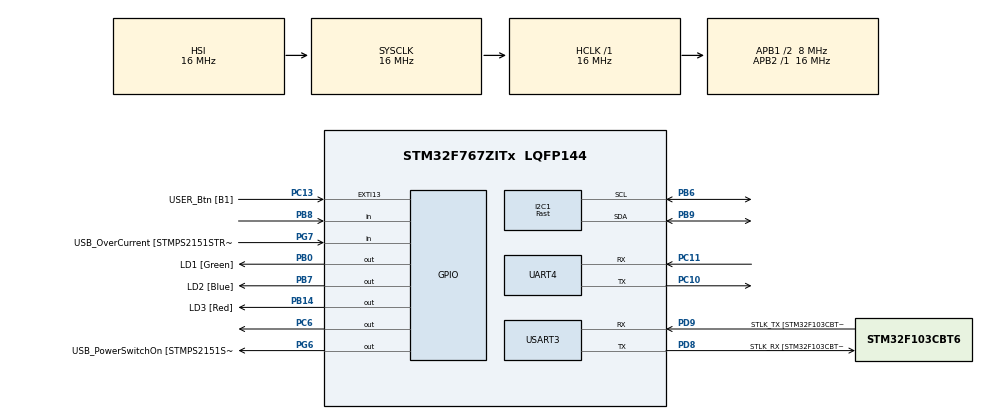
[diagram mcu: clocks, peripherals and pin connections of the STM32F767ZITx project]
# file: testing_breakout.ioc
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I2C1.I2C_Fall_Time=300
I2C1.I2C_Rise_Time=300
I2C1.I2C_Speed_Mode=I2C_Fast
I2C1.OwnAddress=0x68
I2C1.Timing=0x00300208
Mcu.Family=STM32F7
Mcu.Name=STM32F767ZITx
Mcu.Package=LQFP144
NVIC.PriorityGroup=NVIC_PRIORITYGROUP_4
NVIC.TIM3_IRQn=true\:0\:0\:true\:false\:true\:true\:true\:true
NVIC.TIM4_IRQn=true\:1\:0\:true\:false\:true\:true\:true\:true
PA1.GPIO_Label=RMII_REF_CLK [LAN8742A-CZ-TR_REFCLK0]
PA1.Signal=ETH_REF_CLK
PA10.GPIO_Label=USB_ID
PA10.Signal=USB_OTG_FS_ID
PA11.GPIO_Label=USB_DM
PA11.Signal=USB_OTG_FS_DM
PA12.GPIO_Label=USB_DP
PA12.Signal=USB_OTG_FS_DP
PA13.GPIO_Label=TMS
PA13.Signal=SYS_JTMS-SWDIO
PA14.GPIO_Label=TCK
PA14.Signal=SYS_JTCK-SWCLK
PA2.GPIO_Label=RMII_MDIO [LAN8742A-CZ-TR_MDIO]
PA2.Signal=ETH_MDIO
PA7.GPIO_Label=RMII_CRS_DV [LAN8742A-CZ-TR_CRS_DV]
PA7.Signal=ETH_CRS_DV
PA8.GPIO_Label=USB_SOF [TP1]
PA8.Signal=USB_OTG_FS_SOF
PA9.GPIO_Label=USB_VBUS
PA9.Signal=USB_OTG_FS_VBUS
PB0.GPIO_Label=LD1 [Green]
PB0.Signal=GPIO_Output
PB13.GPIO_Label=RMII_TXD1 [LAN8742A-CZ-TR_TXD1]
PB13.Signal=ETH_TXD1
PB14.GPIO_Label=LD3 [Red]
PB14.Signal=GPIO_Output
PB3.GPIO_Label=SW0
PB3.Signal=SYS_JTDO-SWO
PB6.GPIO_Pu=GPIO_PULLUP
PB6.Mode=I2C
PB6.Signal=I2C1_SCL
PB7.GPIO_Label=LD2 [Blue]
PB7.Signal=GPIO_Output
PB8.Signal=GPIO_Input
PB9.GPIO_Pu=GPIO_PULLUP
PB9.Mode=I2C
PB9.Signal=I2C1_SDA
PC1.GPIO_Label=RMII_MDC [LAN8742A-CZ-TR_MDC]
PC1.Signal=ETH_MDC
PC10.Mode=Asynchronous
PC10.Signal=UART4_TX
PC11.Mode=Asynchronous
PC11.Signal=UART4_RX
PC13.GPIO_Label=USER_Btn [B1]
PC13.Signal=GPXTI13
PC14/OSC32_IN.Signal=RCC_OSC32_IN
PC15/OSC32_OUT.Signal=RCC_OSC32_OUT
PC4.GPIO_Label=RMII_RXD0 [LAN8742A-CZ-TR_RXD0]
PC4.Signal=ETH_RXD0
PC5.GPIO_Label=RMII_RXD1 [LAN8742A-CZ-TR_RXD1]
PC5.Signal=ETH_RXD1
PC6.Signal=GPIO_Output
PD8.GPIO_Label=STLK_RX [STM32F103CBT6_PA3]
PD8.Mode=Asynchronous
PD8.Signal=USART3_TX
PD9.GPIO_Label=STLK_TX [STM32F103CBT6_PA2]
PD9.Mode=Asynchronous
PD9.Signal=USART3_RX
PG11.GPIO_Label=RMII_TX_EN [LAN8742A-CZ-TR_TXEN]
PG11.Signal=ETH_TX_EN
PG13.GPIO_Label=RMII_TXD0 [LAN8742A-CZ-TR_TXD0]
PG13.Signal=ETH_TXD0
PG6.GPIO_Label=USB_PowerSwitchOn [STMPS2151STR_EN]
PG6.Signal=GPIO_Output
PG7.GPIO_Label=USB_OverCurrent [STMPS2151STR_FAULT]
PG7.Signal=GPIO_Input
PH0/OSC_IN.GPIO_Label=MCO [STM32F103CBT6_PA8]
PH0/OSC_IN.Signal=RCC_OSC_IN
PH1/OSC_OUT.Signal=RCC_OSC_OUT
ProjectManager.HeapSize=0x200
ProjectManager.StackSize=0x400
ProjectManager.TargetToolchain=STM32CubeIDE
RCC.48MHZClocksFreq_Value=24000000
RCC.AHBFreq_Value=16000000
RCC.APB1CLKDivider=RCC_HCLK_DIV2
RCC.APB1Freq_Value=8000000
RCC.APB1TimFreq_Value=16000000
RCC.APB2Freq_Value=16000000
RCC.APB2TimFreq_Value=16000000
RCC.CortexFreq_Value=16000000
RCC.HCLKFreq_Value=16000000
RCC.HSE_VALUE=16000000
RCC.HSI_VALUE=16000000
RCC.LSE_VALUE=32768
RCC.PLLMUL=RCC_PLL_MUL9
RCC.PRESCALERUSB=RCC_USBCLKSOURCE_PLL_DIV1_5
RCC.SYSCLKFreq_VALUE=16000000
RCC.SYSCLKSourceVirtual=RCC_SYSCLKSOURCE_PLLCLK
RCC.USBFreq_Value=96000000
RCC.VCOOutputFreq_Value=192000000
TIM3.Period=32000
TIM3.Prescaler=1000
TIM4.Period=16000 -1
TIM4.Prescaler=1000
USART3.VirtualMode-Asynchronous=VM_ASYNC
VP_TIM3_VS_ClockSourceINT.Mode=Internal
VP_TIM4_VS_ClockSourceINT.Mode=Internal
board=NUCLEO-F767ZI

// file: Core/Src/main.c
/* USER CODE BEGIN Header */
/**
  ******************************************************************************
  * @file           : main.c
  * @brief          : Main program body
  ******************************************************************************
  * @attention
  *
  * Copyright (c) 2023 STMicroelectronics.
  * All rights reserved.
  *
  * This software is licensed under terms that can be found in the LICENSE file
  * in the root directory of this software component.
  * If no LICENSE file comes with this software, it is provided AS-IS.
  *
  ******************************************************************************
  */
/* USER CODE END Header */
#include "main.h"

/* USER CODE BEGIN Includes */

#include "MPU_6050.h"

/* USER CODE END Includes */

I2C_HandleTypeDef hi2c1;

TIM_HandleTypeDef htim3;
TIM_HandleTypeDef htim4;

UART_HandleTypeDef huart4;
UART_HandleTypeDef huart3;

/* USER CODE BEGIN PV */

typedef enum
{
	NOT_SEND_DATA,
	SEND_DATA,
}sendData;

typedef enum
{
	NOT_FETCH_DATA,
	FETCH_DATA,
} fetchData;

/* instantiating mpu_6050_t struct */
mpu_6050_t my_imu;
uint8_t sendAccel = 0;
uint8_t sendGyro = 0;
uint8_t getAccel = 0;
uint8_t getGyro = 0;
/* USER CODE END PV */

void SystemClock_Config(void);
static void MX_GPIO_Init(void);
static void MX_I2C1_Init(void);
static void MX_USART3_UART_Init(void);
static void MX_UART4_Init(void);
static void MX_TIM4_Init(void);
static void MX_TIM3_Init(void);

/* USER CODE BEGIN 0 */
void HAL_TIM_PeriodElapsedCallback(TIM_HandleTypeDef *htim)
{
	if (htim == &htim4)
	{
		HAL_GPIO_TogglePin(GPIOC, GPIO_PIN_6);

		getAccel = NOT_FETCH_DATA;
		getGyro = NOT_FETCH_DATA;
	}

	if (htim == &htim3)
	{
		HAL_GPIO_TogglePin(GPIOB, GPIO_PIN_14);

		sendAccel = SEND_DATA;
		sendGyro = SEND_DATA;
	}
}

/* USER CODE END 0 */

int main(void)
{

  /* MCU Configuration--------------------------------------------------------*/

  /* Reset of all peripherals, Initializes the Flash interface and the Systick. */
  HAL_Init();

  /* Configure the system clock */
  SystemClock_Config();

  /* Initialize all configured peripherals */
  MX_GPIO_Init();
  MX_I2C1_Init();
  MX_USART3_UART_Init();
  MX_UART4_Init();
  MX_TIM4_Init();
  MX_TIM3_Init();
  /* USER CODE BEGIN 2 */

  init_MPU_6050(&my_imu, &hi2c1);

  wake(&my_imu);

  set_Sample_Rt(&my_imu);

  accel_Gyro_Config(&my_imu);

  //fifo_Enable(&my_imu);

  //INT_Config(&my_imu);

  /* Timer 4 triggers interrupt that collects data from the 6 axis sensor */
  HAL_TIM_Base_Start_IT(&htim4);

  /* Timer 3 triggers an interrupt that transmits the data via uart */
  HAL_TIM_Base_Start_IT(&htim3);

  /* USER CODE END 2 */

  /* Infinite loop */
  /* USER CODE BEGIN WHILE */
  while (1)
  {
	  if (getAccel == FETCH_DATA)
	  {
		  if (get_Accel(&my_imu) != HAL_OK)
			  HAL_GPIO_WritePin(GPIOB, GPIO_PIN_0, 0);

		  getAccel = 0;
	  }

	  if (sendAccel == SEND_DATA)
	  {
		  formatAccel(&my_imu);

		  Tx_Accel(&my_imu, &huart3);

		  sendAccel = NOT_SEND_DATA;
	  }
//
//	  if (getGyro == FETCH_DATA)
//	  {
//		  if (get_Gyro(&my_imu) != HAL_OK)
//			  HAL_GPIO_WritePin(GPIOB, GPIO_PIN_0, 0);
//
//		  getGyro = 0;
//	  }
//
//	  if (sendGyro == SEND_DATA)
//	  {
//		  formatGyro(&my_imu);
//
//		  Tx_Gyro(&my_imu, &huart3);
//
//		  sendGyro = NOT_SEND_DATA;
//	  }

    /* USER CODE END WHILE */

  }
}

void SystemClock_Config(void)
{
  RCC_OscInitTypeDef RCC_OscInitStruct = {0};
  RCC_ClkInitTypeDef RCC_ClkInitStruct = {0};

  /** Configure the main internal regulator output voltage
  */
  __HAL_RCC_PWR_CLK_ENABLE();
  __HAL_PWR_VOLTAGESCALING_CONFIG(PWR_REGULATOR_VOLTAGE_SCALE3);

  /** Initializes the RCC Oscillators according to the specified parameters
  * in the RCC_OscInitTypeDef structure.
  */
  RCC_OscInitStruct.OscillatorType = RCC_OSCILLATORTYPE_HSI;
  RCC_OscInitStruct.HSIState = RCC_HSI_ON;
  RCC_OscInitStruct.HSICalibrationValue = RCC_HSICALIBRATION_DEFAULT;
  RCC_OscInitStruct.PLL.PLLState = RCC_PLL_NONE;
  if (HAL_RCC_OscConfig(&RCC_OscInitStruct) != HAL_OK)
  {
    Error_Handler();
  }

  /** Initializes the CPU, AHB and APB buses clocks
  */
  RCC_ClkInitStruct.ClockType = RCC_CLOCKTYPE_HCLK|RCC_CLOCKTYPE_SYSCLK
                              |RCC_CLOCKTYPE_PCLK1|RCC_CLOCKTYPE_PCLK2;
  RCC_ClkInitStruct.SYSCLKSource = RCC_SYSCLKSOURCE_HSI;
  RCC_ClkInitStruct.AHBCLKDivider = RCC_SYSCLK_DIV1;
  RCC_ClkInitStruct.APB1CLKDivider = RCC_HCLK_DIV2;
  RCC_ClkInitStruct.APB2CLKDivider = RCC_HCLK_DIV1;

  if (HAL_RCC_ClockConfig(&RCC_ClkInitStruct, FLASH_LATENCY_0) != HAL_OK)
  {
    Error_Handler();
  }
}

static void MX_I2C1_Init(void)
{

  hi2c1.Instance = I2C1;
  hi2c1.Init.Timing = 0x00300208;
  hi2c1.Init.OwnAddress1 = 208;
  hi2c1.Init.AddressingMode = I2C_ADDRESSINGMODE_7BIT;
  hi2c1.Init.DualAddressMode = I2C_DUALADDRESS_DISABLE;
  hi2c1.Init.OwnAddress2 = 0;
  hi2c1.Init.OwnAddress2Masks = I2C_OA2_NOMASK;
  hi2c1.Init.GeneralCallMode = I2C_GENERALCALL_DISABLE;
  hi2c1.Init.NoStretchMode = I2C_NOSTRETCH_DISABLE;
  if (HAL_I2C_Init(&hi2c1) != HAL_OK)
  {
    Error_Handler();
  }

  /** Configure Analogue filter
  */
  if (HAL_I2CEx_ConfigAnalogFilter(&hi2c1, I2C_ANALOGFILTER_ENABLE) != HAL_OK)
  {
    Error_Handler();
  }

  /** Configure Digital filter
  */
  if (HAL_I2CEx_ConfigDigitalFilter(&hi2c1, 0) != HAL_OK)
  {
    Error_Handler();
  }

}

static void MX_TIM3_Init(void)
{

  TIM_ClockConfigTypeDef sClockSourceConfig = {0};
  TIM_MasterConfigTypeDef sMasterConfig = {0};

  htim3.Instance = TIM3;
  htim3.Init.Prescaler = 1000;
  htim3.Init.CounterMode = TIM_COUNTERMODE_UP;
  htim3.Init.Period = 32000;
  htim3.Init.ClockDivision = TIM_CLOCKDIVISION_DIV1;
  htim3.Init.AutoReloadPreload = TIM_AUTORELOAD_PRELOAD_DISABLE;
  if (HAL_TIM_Base_Init(&htim3) != HAL_OK)
  {
    Error_Handler();
  }
  sClockSourceConfig.ClockSource = TIM_CLOCKSOURCE_INTERNAL;
  if (HAL_TIM_ConfigClockSource(&htim3, &sClockSourceConfig) != HAL_OK)
  {
    Error_Handler();
  }
  sMasterConfig.MasterOutputTrigger = TIM_TRGO_RESET;
  sMasterConfig.MasterSlaveMode = TIM_MASTERSLAVEMODE_DISABLE;
  if (HAL_TIMEx_MasterConfigSynchronization(&htim3, &sMasterConfig) != HAL_OK)
  {
    Error_Handler();
  }

}

static void MX_TIM4_Init(void)
{

  TIM_ClockConfigTypeDef sClockSourceConfig = {0};
  TIM_MasterConfigTypeDef sMasterConfig = {0};

  htim4.Instance = TIM4;
  htim4.Init.Prescaler = 1000;
  htim4.Init.CounterMode = TIM_COUNTERMODE_UP;
  htim4.Init.Period = 16000 -1;
  htim4.Init.ClockDivision = TIM_CLOCKDIVISION_DIV1;
  htim4.Init.AutoReloadPreload = TIM_AUTORELOAD_PRELOAD_DISABLE;
  if (HAL_TIM_Base_Init(&htim4) != HAL_OK)
  {
    Error_Handler();
  }
  sClockSourceConfig.ClockSource = TIM_CLOCKSOURCE_INTERNAL;
  if (HAL_TIM_ConfigClockSource(&htim4, &sClockSourceConfig) != HAL_OK)
  {
    Error_Handler();
  }
  sMasterConfig.MasterOutputTrigger = TIM_TRGO_RESET;
  sMasterConfig.MasterSlaveMode = TIM_MASTERSLAVEMODE_DISABLE;
  if (HAL_TIMEx_MasterConfigSynchronization(&htim4, &sMasterConfig) != HAL_OK)
  {
    Error_Handler();
  }

}

static void MX_UART4_Init(void)
{

  huart4.Instance = UART4;
  huart4.Init.BaudRate = 115200;
  huart4.Init.WordLength = UART_WORDLENGTH_8B;
  huart4.Init.StopBits = UART_STOPBITS_1;
  huart4.Init.Parity = UART_PARITY_NONE;
  huart4.Init.Mode = UART_MODE_TX_RX;
  huart4.Init.HwFlowCtl = UART_HWCONTROL_NONE;
  huart4.Init.OverSampling = UART_OVERSAMPLING_16;
  huart4.Init.OneBitSampling = UART_ONE_BIT_SAMPLE_DISABLE;
  huart4.AdvancedInit.AdvFeatureInit = UART_ADVFEATURE_NO_INIT;
  if (HAL_UART_Init(&huart4) != HAL_OK)
  {
    Error_Handler();
  }

}

static void MX_USART3_UART_Init(void)
{

  huart3.Instance = USART3;
  huart3.Init.BaudRate = 115200;
  huart3.Init.WordLength = UART_WORDLENGTH_8B;
  huart3.Init.StopBits = UART_STOPBITS_1;
  huart3.Init.Parity = UART_PARITY_NONE;
  huart3.Init.Mode = UART_MODE_TX_RX;
  huart3.Init.HwFlowCtl = UART_HWCONTROL_NONE;
  huart3.Init.OverSampling = UART_OVERSAMPLING_16;
  huart3.Init.OneBitSampling = UART_ONE_BIT_SAMPLE_DISABLE;
  huart3.AdvancedInit.AdvFeatureInit = UART_ADVFEATURE_NO_INIT;
  if (HAL_UART_Init(&huart3) != HAL_OK)
  {
    Error_Handler();
  }

}

static void MX_GPIO_Init(void)
{
  GPIO_InitTypeDef GPIO_InitStruct = {0};

  /* GPIO Ports Clock Enable */
  __HAL_RCC_GPIOC_CLK_ENABLE();
  __HAL_RCC_GPIOH_CLK_ENABLE();
  __HAL_RCC_GPIOA_CLK_ENABLE();
  __HAL_RCC_GPIOB_CLK_ENABLE();
  __HAL_RCC_GPIOD_CLK_ENABLE();
  __HAL_RCC_GPIOG_CLK_ENABLE();

  /*Configure GPIO pin Output Level */
  HAL_GPIO_WritePin(GPIOB, LD1_Pin|LD3_Pin|LD2_Pin, GPIO_PIN_RESET);

  /*Configure GPIO pin Output Level */
  HAL_GPIO_WritePin(USB_PowerSwitchOn_GPIO_Port, USB_PowerSwitchOn_Pin, GPIO_PIN_RESET);

  /*Configure GPIO pin Output Level */
  HAL_GPIO_WritePin(GPIOC, GPIO_PIN_6, GPIO_PIN_RESET);

  /*Configure GPIO pin : USER_Btn_Pin */
  GPIO_InitStruct.Pin = USER_Btn_Pin;
  GPIO_InitStruct.Mode = GPIO_MODE_IT_RISING;
  GPIO_InitStruct.Pull = GPIO_NOPULL;
  HAL_GPIO_Init(USER_Btn_GPIO_Port, &GPIO_InitStruct);

  /*Configure GPIO pins : RMII_MDC_Pin RMII_RXD0_Pin RMII_RXD1_Pin */
  GPIO_InitStruct.Pin = RMII_MDC_Pin|RMII_RXD0_Pin|RMII_RXD1_Pin;
  GPIO_InitStruct.Mode = GPIO_MODE_AF_PP;
  GPIO_InitStruct.Pull = GPIO_NOPULL;
  GPIO_InitStruct.Speed = GPIO_SPEED_FREQ_VERY_HIGH;
  GPIO_InitStruct.Alternate = GPIO_AF11_ETH;
  HAL_GPIO_Init(GPIOC, &GPIO_InitStruct);

  /*Configure GPIO pins : RMII_REF_CLK_Pin RMII_MDIO_Pin RMII_CRS_DV_Pin */
  GPIO_InitStruct.Pin = RMII_REF_CLK_Pin|RMII_MDIO_Pin|RMII_CRS_DV_Pin;
  GPIO_InitStruct.Mode = GPIO_MODE_AF_PP;
  GPIO_InitStruct.Pull = GPIO_NOPULL;
  GPIO_InitStruct.Speed = GPIO_SPEED_FREQ_VERY_HIGH;
  GPIO_InitStruct.Alternate = GPIO_AF11_ETH;
  HAL_GPIO_Init(GPIOA, &GPIO_InitStruct);

  /*Configure GPIO pins : LD1_Pin LD3_Pin LD2_Pin */
  GPIO_InitStruct.Pin = LD1_Pin|LD3_Pin|LD2_Pin;
  GPIO_InitStruct.Mode = GPIO_MODE_OUTPUT_PP;
  GPIO_InitStruct.Pull = GPIO_NOPULL;
  GPIO_InitStruct.Speed = GPIO_SPEED_FREQ_LOW;
  HAL_GPIO_Init(GPIOB, &GPIO_InitStruct);

  /*Configure GPIO pin : RMII_TXD1_Pin */
  GPIO_InitStruct.Pin = RMII_TXD1_Pin;
  GPIO_InitStruct.Mode = GPIO_MODE_AF_PP;
  GPIO_InitStruct.Pull = GPIO_NOPULL;
  GPIO_InitStruct.Speed = GPIO_SPEED_FREQ_VERY_HIGH;
  GPIO_InitStruct.Alternate = GPIO_AF11_ETH;
  HAL_GPIO_Init(RMII_TXD1_GPIO_Port, &GPIO_InitStruct);

  /*Configure GPIO pin : USB_PowerSwitchOn_Pin */
  GPIO_InitStruct.Pin = USB_PowerSwitchOn_Pin;
  GPIO_InitStruct.Mode = GPIO_MODE_OUTPUT_PP;
  GPIO_InitStruct.Pull = GPIO_NOPULL;
  GPIO_InitStruct.Speed = GPIO_SPEED_FREQ_LOW;
  HAL_GPIO_Init(USB_PowerSwitchOn_GPIO_Port, &GPIO_InitStruct);

  /*Configure GPIO pin : USB_OverCurrent_Pin */
  GPIO_InitStruct.Pin = USB_OverCurrent_Pin;
  GPIO_InitStruct.Mode = GPIO_MODE_INPUT;
  GPIO_InitStruct.Pull = GPIO_NOPULL;
  HAL_GPIO_Init(USB_OverCurrent_GPIO_Port, &GPIO_InitStruct);

  /*Configure GPIO pin : PC6 */
  GPIO_InitStruct.Pin = GPIO_PIN_6;
  GPIO_InitStruct.Mode = GPIO_MODE_OUTPUT_PP;
  GPIO_InitStruct.Pull = GPIO_NOPULL;
  GPIO_InitStruct.Speed = GPIO_SPEED_FREQ_LOW;
  HAL_GPIO_Init(GPIOC, &GPIO_InitStruct);

  /*Configure GPIO pins : USB_SOF_Pin USB_ID_Pin USB_DM_Pin USB_DP_Pin */
  GPIO_InitStruct.Pin = USB_SOF_Pin|USB_ID_Pin|USB_DM_Pin|USB_DP_Pin;
  GPIO_InitStruct.Mode = GPIO_MODE_AF_PP;
  GPIO_InitStruct.Pull = GPIO_NOPULL;
  GPIO_InitStruct.Speed = GPIO_SPEED_FREQ_VERY_HIGH;
  GPIO_InitStruct.Alternate = GPIO_AF10_OTG_FS;
  HAL_GPIO_Init(GPIOA, &GPIO_InitStruct);

  /*Configure GPIO pin : USB_VBUS_Pin */
  GPIO_InitStruct.Pin = USB_VBUS_Pin;
  GPIO_InitStruct.Mode = GPIO_MODE_INPUT;
  GPIO_InitStruct.Pull = GPIO_NOPULL;
  HAL_GPIO_Init(USB_VBUS_GPIO_Port, &GPIO_InitStruct);

  /*Configure GPIO pins : RMII_TX_EN_Pin RMII_TXD0_Pin */
  GPIO_InitStruct.Pin = RMII_TX_EN_Pin|RMII_TXD0_Pin;
  GPIO_InitStruct.Mode = GPIO_MODE_AF_PP;
  GPIO_InitStruct.Pull = GPIO_NOPULL;
  GPIO_InitStruct.Speed = GPIO_SPEED_FREQ_VERY_HIGH;
  GPIO_InitStruct.Alternate = GPIO_AF11_ETH;
  HAL_GPIO_Init(GPIOG, &GPIO_InitStruct);

  /*Configure GPIO pin : PB8 */
  GPIO_InitStruct.Pin = GPIO_PIN_8;
  GPIO_InitStruct.Mode = GPIO_MODE_INPUT;
  GPIO_InitStruct.Pull = GPIO_NOPULL;
  HAL_GPIO_Init(GPIOB, &GPIO_InitStruct);

}

void Error_Handler(void)
{
  __disable_irq();
  while (1)
  {
  }
}
